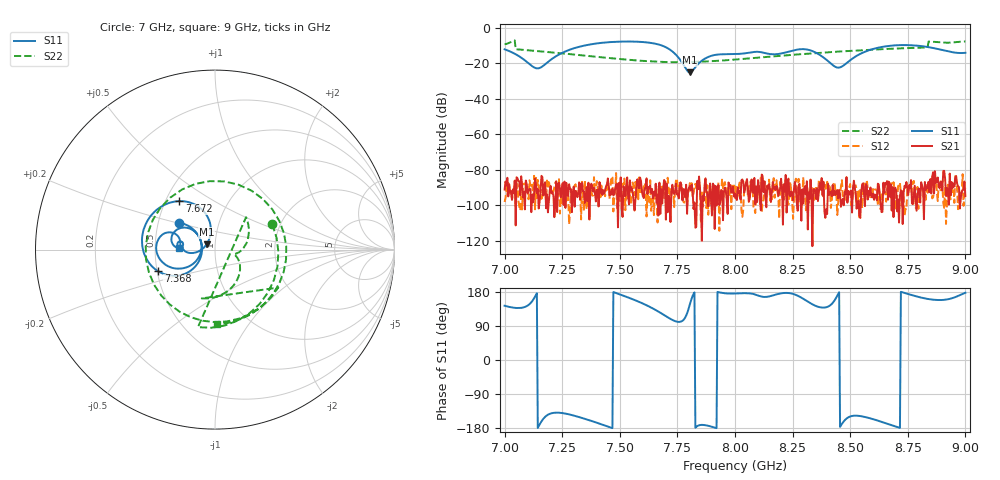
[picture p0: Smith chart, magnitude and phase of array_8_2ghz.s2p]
! 6/17/2000 8:19:18 PM
! C:\DOCUMENTS AND SETTINGS\VECTORSTARUSER\DESKTOP\250430\ARRAY_8_2GHZ.S2P
! CHANNEL.1
! TR.MEASUREMENT
! CORRECTED.DATA
# HZ S DB R 50.0
! FREQ.HZ  S11DB  S11A  S21DB  S21A  S12DB  S12A  S22DB  S22A
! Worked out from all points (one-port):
!   501 points, 7 GHz to 9 GHz, reference 50 ohm
!   lowest |S11| = -25.1 dB at 7.804 GHz (marker M1), VSWR 1.12, Z = 45.5 + j2.77 ohm
!   |S11| at or under -10 dB: start of sweep to 7.345 GHz; 7.684 GHz to 8.68 GHz (996.1 MHz wide, 12.2 % of centre); 8.789 GHz to end of sweep
!   S11 on the Smith chart (normalised r, x): 7 GHz: 0.64, +0.20; 7.368 GHz: 0.51, -0.14; 7.672 GHz: 0.59, +0.36; 9 GHz: 0.67, +0.01
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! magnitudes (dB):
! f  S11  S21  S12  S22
! 7 GHz  -12.1  -91.2  -98.2  -9.2
! 7.036 GHz  -14.0  -91.0  -94.1  -7.4
! 7.056 GHz  -15.5  -84.8  -88.3  -12.1
! 7.144 GHz  -22.8  -90.9  -85.8  -13.1
! 7.244 GHz  -14.5  -95.5  -94.7  -14.3
! 7.336 GHz  -10.3  -87.5  -86.8  -15.5
! 7.368 GHz  -9.4  -108.1  -93.8  -15.9
! 7.532 GHz  -7.7  -84.3  -97.2  -17.9
! 7.668 GHz  -9.3  -105.7  -89.0  -19.1
! 7.672 GHz  -9.5  -87.3  -95.5  -19.1
! 7.732 GHz  -13.7  -93.0  -90.7  -19.3
! 7.804 GHz  -25.1  -89.2  -87.5  -19.3
! 7.888 GHz  -16.2  -94.8  -93.2  -18.8
! 8 GHz  -14.8  -93.5  -95.9  -17.8
! 8.288 GHz  -12.0  -108.7  -96.5  -14.8
! 8.336 GHz  -13.1  -123.1  -90.4  -14.4
! 8.448 GHz  -22.4  -96.2  -98.7  -13.4
! 8.56 GHz  -13.7  -93.6  -87.7  -12.5
! 8.668 GHz  -10.2  -86.8  -94.3  -11.8
! 8.828 GHz  -10.6  -91.5  -97.0  -11.0
! 8.848 GHz  -11.0  -85.3  -90.3  -7.8
! 9 GHz  -14.0  -94.8  -90.2  -7.6
